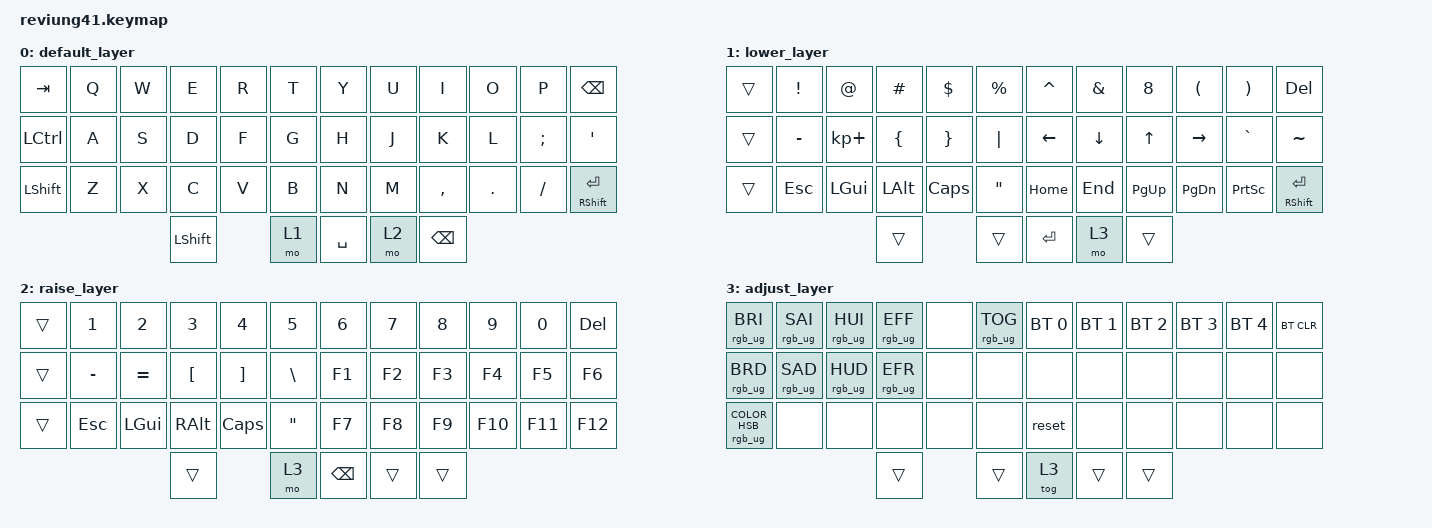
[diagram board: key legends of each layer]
/*
 * Copyright (c) 2020 The ZMK Contributors
 *
 * SPDX-License-Identifier: MIT
 */

#include <behaviors.dtsi>
#include <dt-bindings/zmk/keys.h>
#include <dt-bindings/zmk/bt.h>
#include <dt-bindings/zmk/rgb.h>

/*
 * Temporarily here because nice nano v2 spi is not defined on ZMk Yet
 * Source: https://github.com/zmkfirmware/zmk/blob/main/app/boards/shields/reviung41/boards/nice_nano.overlay
 * GitHub Issue: https://github.com/zmkfirmware/zmk/issues/885
 */

&spi1 {
   compatible = "nordic,nrf-spim";
   status = "okay";
   mosi-pin = <6>;
   // Unused pins, needed for SPI definition, but not used by the ws2812 driver itself.
   sck-pin = <5>;
   miso-pin = <7>;

   led_strip: ws2812@0 {
      compatible = "worldsemi,ws2812-spi";
      label = "WS2812";

      /* SPI */
      reg = <0>; /* ignored, but necessary for SPI bindings */
      spi-max-frequency = <4000000>;

      /* WS2812 */
      chain-length = <11>; /* arbitrary; change at will */
      spi-one-frame = <0x70>;
      spi-zero-frame = <0x40>;
   };
};

/ {
   chosen {
      zmk,underglow = &led_strip;
   };
};

/*
 * Temporarily here because nice nano v2 spi is not defined on ZMk YET
 */




/ {
        keymap {
                compatible = "zmk,keymap";

                default_layer {
// -------------------------------------------------------------------------------------
// |  TAB |  Q  |  W  |  E  |  R  |  T  |   |  Y  |  U   |  I  |  O  |  P  |   BKSP    |
// | CTRL |  A  |  S  |  D  |  F  |  G  |   |  H  |  J   |  K  |  L  |  ;  |    '      |
// | SHFT |  Z  |  X  |  C  |  V  |  B  |   |  N  |  M   |  ,  |  .  |  /  | SHFT(RET) |
//                         | ALT | LWR | SPC | RSE  | ALT |
                        bindings = <
   &kp TAB   &kp Q &kp W &kp E &kp R &kp T   &kp Y &kp U  &kp I     &kp O   &kp P    &kp BSPC
   &kp LCTRL &kp A &kp S &kp D &kp F &kp G   &kp H &kp J  &kp K     &kp L   &kp SEMI &kp SQT
   &kp LSHFT &kp Z &kp X &kp C &kp V &kp B   &kp N &kp M  &kp COMMA &kp DOT &kp FSLH &mt RSHFT RET
                        &kp LSHFT  &mo 1 &kp SPACE &mo 2  &kp BSPC
                        >;
                };

                lower_layer {
// ----------------------------------------------------------------------------------
// |    |  !  |  @  |  #  |  $  |  %  |   |  ^  |  &  |  *  |  (  |  )  |    DEL    |
// |    |  _  |  +  |  {  |  }  | "|" |   | LFT | DWN |  UP | RGT |  `  |     ~     |
// |    | ESC | GUI | ALT | CAPS|  "  |   | HOME| END | PGUP| PGDN| PRSC| SHFT(RET) |
//                       |     |     | RET | ADJ |     |
                        bindings = <
   &trans &kp EXCL  &kp AT      &kp HASH &kp DLLR &kp PRCNT      &kp CARET &kp AMPS &kp N8    &kp LPAR  &kp RPAR  &kp DEL
   &trans &kp MINUS &kp KP_PLUS &kp LBRC &kp RBRC &kp PIPE       &kp LEFT  &kp DOWN &kp UP    &kp RIGHT &kp GRAVE &kp TILDE
   &trans &kp ESC   &kp LGUI    &kp LALT &kp CLCK &kp DQT        &kp HOME  &kp END  &kp PG_UP &kp PG_DN &kp PSCRN &mt RSHFT RET
                                 &trans      &trans       &kp RET        &mo 3       &trans
                        >;
                };

                raise_layer {
// -----------------------------------------------------------------------------------------
// |    |  1  |  2  |  3  |  4  |  5  |   |  6  |  7  |  8  |  9  |  0  | DEL |
// |    |  -  |  =  |  [  |  ]  |  \  |   | F1  | F2  | F3  | F4  | F5  | F6  |
// |    | ESC | GUI | ALT | CAPS|  "  |   | F7  | F8  | F9  | F10 | F11 | F12 |
//                       |     | ADJ | BKSP |    |     |
                        bindings = <
   &trans &kp N1    &kp N2    &kp N3    &kp N4    &kp N5        &kp N6    &kp N7    &kp N8    &kp N9    &kp N0    &kp DEL
   &trans &kp MINUS &kp EQUAL &kp LBKT  &kp RBKT  &kp BSLH      &kp F1    &kp F2    &kp F3    &kp F4    &kp F5    &kp F6
   &trans &kp ESC   &kp LGUI  &kp RALT  &kp CLCK  &kp DQT       &kp F7    &kp F8    &kp F9    &kp F10   &kp F11   &kp F12
                                &trans      &mo 3       &kp BSPC        &trans      &trans
                        >;
                };

                adjust_layer {
// -----------------------------------------------------------------------------------------
// | RGB BRI+ | RGB SAT+ | RGB HUE+ | RGB ANI+ |    | RGB TOG |   |  BT1  | BT2 | BT3 | BT4 | BT5 | BT CLR |
// | RGB BRI- | RGB SAT- | RGB HUE- | RGB ANI- |    |         |   |       |     |     |     |     |        |
// | RGB GRN  |          |          |          |    |         |   | RESET |     |     |     |     |        |
//                                              |     |     |     |     |     |
                        bindings = <
   &rgb_ug RGB_BRI &rgb_ug RGB_SAI &rgb_ug RGB_HUI &rgb_ug RGB_EFF &none &rgb_ug RGB_TOG    &bt BT_SEL 0 &bt BT_SEL 1 &bt BT_SEL 2 &bt BT_SEL 3 &bt BT_SEL 4 &bt BT_CLR
   &rgb_ug RGB_BRD &rgb_ug RGB_SAD &rgb_ug RGB_HUD &rgb_ug RGB_EFR &none &none              &none        &none        &none        &none        &none        &none
   &rgb_ug RGB_COLOR_HSB(128,100,100) &none           &none           &none           &none &none              &reset       &none        &none        &none        &none        &none
                                                             &trans      &trans       &tog 3        &trans      &trans
                        >;
                };
        };
};
